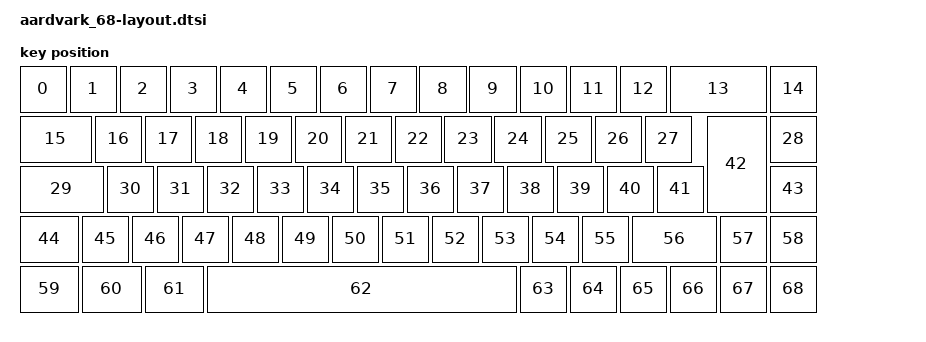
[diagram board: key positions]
/*
 * Copyright (c) 2026 The ZMK Contributors
 *
 * SPDX-License-Identifier: MIT
 *
 * Physical layout generated from the board's own KiCad placement data
 * (keyboard_stm32-all-pos.csv + PCB net trace for row/col wiring).
 * Units are centi-key-units (100 = 1.00u); origin is top-left.
 */

#include <physical_layouts.dtsi>

/ {
	aardvark_68_layout: aardvark_68_layout {
		compatible = "zmk,physical-layout";
		display-name = "Aardvark 68";

		keys  // w   h    x    y  rot  rx  ry
			= <&key_physical_attrs 100 100    0    0 0 0 0>  /* K1 ESC */
			, <&key_physical_attrs 100 100  100    0 0 0 0>  /* K6 #1 */
			, <&key_physical_attrs 100 100  200    0 0 0 0>  /* K9 #2 */
			, <&key_physical_attrs 100 100  300    0 0 0 0>  /* K13 #3 */
			, <&key_physical_attrs 100 100  400    0 0 0 0>  /* K18 #4 */
			, <&key_physical_attrs 100 100  500    0 0 0 0>  /* K22 #5 */
			, <&key_physical_attrs 100 100  600    0 0 0 0>  /* K26 #6 */
			, <&key_physical_attrs 100 100  700    0 0 0 0>  /* K31 #7 */
			, <&key_physical_attrs 100 100  800    0 0 0 0>  /* K35 #8 */
			, <&key_physical_attrs 100 100  900    0 0 0 0>  /* K39 #9 */
			, <&key_physical_attrs 100 100 1000    0 0 0 0>  /* K43 #0 */
			, <&key_physical_attrs 100 100 1100    0 0 0 0>  /* K48 + */
			, <&key_physical_attrs 100 100 1200    0 0 0 0>  /* K53 ´ / ` */
			, <&key_physical_attrs 200 100 1300    0 0 0 0>  /* K61 BSPC */
			, <&key_physical_attrs 100 100 1500    0 0 0 0>  /* K65 DEL */
			, <&key_physical_attrs 150 100    0  100 0 0 0>  /* K2 TAB */
			, <&key_physical_attrs 100 100  150  100 0 0 0>  /* K10 Q */
			, <&key_physical_attrs 100 100  250  100 0 0 0>  /* K14 W */
			, <&key_physical_attrs 100 100  350  100 0 0 0>  /* K19 E */
			, <&key_physical_attrs 100 100  450  100 0 0 0>  /* K23 R */
			, <&key_physical_attrs 100 100  550  100 0 0 0>  /* K27 T */
			, <&key_physical_attrs 100 100  650  100 0 0 0>  /* K32 Y */
			, <&key_physical_attrs 100 100  750  100 0 0 0>  /* K36 U */
			, <&key_physical_attrs 100 100  850  100 0 0 0>  /* K40 I */
			, <&key_physical_attrs 100 100  950  100 0 0 0>  /* K44 O */
			, <&key_physical_attrs 100 100 1050  100 0 0 0>  /* K49 P */
			, <&key_physical_attrs 100 100 1150  100 0 0 0>  /* K54 Å */
			, <&key_physical_attrs 100 100 1250  100 0 0 0>  /* K57 ¨ / ^ */
			, <&key_physical_attrs 100 100 1500  100 0 0 0>  /* K66 INS */
			, <&key_physical_attrs 175 100    0  200 0 0 0>  /* K3 CAPS */
			, <&key_physical_attrs 100 100  175  200 0 0 0>  /* K11 A */
			, <&key_physical_attrs 100 100  275  200 0 0 0>  /* K15 S */
			, <&key_physical_attrs 100 100  375  200 0 0 0>  /* K20 D */
			, <&key_physical_attrs 100 100  475  200 0 0 0>  /* K24 F */
			, <&key_physical_attrs 100 100  575  200 0 0 0>  /* K28 G */
			, <&key_physical_attrs 100 100  675  200 0 0 0>  /* K33 H */
			, <&key_physical_attrs 100 100  775  200 0 0 0>  /* K37 J */
			, <&key_physical_attrs 100 100  875  200 0 0 0>  /* K41 K */
			, <&key_physical_attrs 100 100  975  200 0 0 0>  /* K45 L */
			, <&key_physical_attrs 100 100 1075  200 0 0 0>  /* K50 Ö */
			, <&key_physical_attrs 100 100 1175  200 0 0 0>  /* K55 Ä */
			, <&key_physical_attrs 100 100 1275  200 0 0 0>  /* K58 ' / * */
			, <&key_physical_attrs 125 200 1375  100 0 0 0>  /* K62 ENTER (ISO, approximated as rectangle) */
			, <&key_physical_attrs 100 100 1500  200 0 0 0>  /* K67 HOME */
			, <&key_physical_attrs 125 100    0  300 0 0 0>  /* K4 L_SHIFT */
			, <&key_physical_attrs 100 100  125  300 0 0 0>  /* K7 < > */
			, <&key_physical_attrs 100 100  225  300 0 0 0>  /* K12 Z */
			, <&key_physical_attrs 100 100  325  300 0 0 0>  /* K16 X */
			, <&key_physical_attrs 100 100  425  300 0 0 0>  /* K21 C */
			, <&key_physical_attrs 100 100  525  300 0 0 0>  /* K25 V */
			, <&key_physical_attrs 100 100  625  300 0 0 0>  /* K29 B */
			, <&key_physical_attrs 100 100  725  300 0 0 0>  /* K34 N */
			, <&key_physical_attrs 100 100  825  300 0 0 0>  /* K38 M */
			, <&key_physical_attrs 100 100  925  300 0 0 0>  /* K42 , (KOMMA) */
			, <&key_physical_attrs 100 100 1025  300 0 0 0>  /* K46 . (PUNKT) */
			, <&key_physical_attrs 100 100 1125  300 0 0 0>  /* K51 - (STRECK) */
			, <&key_physical_attrs 175 100 1225  300 0 0 0>  /* K59 R_SHIFT */
			, <&key_physical_attrs 100 100 1400  300 0 0 0>  /* K63 UP */
			, <&key_physical_attrs 100 100 1500  300 0 0 0>  /* K68 END */
			, <&key_physical_attrs 125 100    0  400 0 0 0>  /* K5 L_CTRL */
			, <&key_physical_attrs 125 100  125  400 0 0 0>  /* K8 WIN_OS */
			, <&key_physical_attrs 125 100  250  400 0 0 0>  /* K17 L_ALT */
			, <&key_physical_attrs 625 100  375  400 0 0 0>  /* K30 SPACE */
			, <&key_physical_attrs 100 100 1000  400 0 0 0>  /* K47 R_ALT */
			, <&key_physical_attrs 100 100 1100  400 0 0 0>  /* K52 FN */
			, <&key_physical_attrs 100 100 1200  400 0 0 0>  /* K56 R_CTRL */
			, <&key_physical_attrs 100 100 1300  400 0 0 0>  /* K60 LEFT */
			, <&key_physical_attrs 100 100 1400  400 0 0 0>  /* K64 DOWN */
			, <&key_physical_attrs 100 100 1500  400 0 0 0>  /* K69 RIGHT */
			;
	};
};
